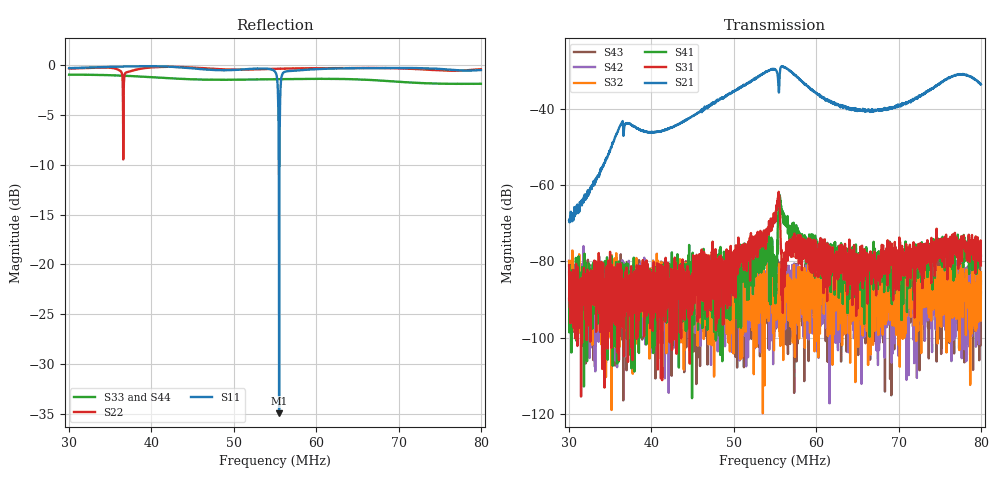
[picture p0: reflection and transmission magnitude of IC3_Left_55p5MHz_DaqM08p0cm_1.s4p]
#  HZ  S  DB  R  50.00
! Rohde & Schwarz Vector Network Analyzer
! Rohde-Schwarz,ZNB8-4Port,1311601044102961,2.82
! Created: UTC 2/13/2019, 9:42:03 AM
! freq[Hz]  db:S11  ang:S11  db:S12  ang:S12  db:S13  ang:S13  db:S14  ang:S14
!  db:S21  ang:S21  db:S22  ang:S22  db:S23  ang:S23  db:S24  ang:S24
!  db:S31  ang:S31  db:S32  ang:S32  db:S33  ang:S33  db:S34  ang:S34
!  db:S41  ang:S41  db:S42  ang:S42  db:S43  ang:S43  db:S44  ang:S44
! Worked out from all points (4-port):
!   2001 points, 30 MHz to 80 MHz, reference 50 ohm
!   strongest paths, dB at 30 MHz, 42.5 MHz, 55 MHz, 67.5 MHz, 80 MHz:
!     S21: -69.2, -44.8, -29.7, -40.2, -33.6
!     S31: -81.0, -103.2, -67.7, -83.1, -81.1
!     S41: -89.8, -90.4, -81.1, -87.4, -78.6
!     S32: -79.9, -84.5, -86.3, -83.6, -82.9
!     S42: -80.2, -95.7, -86.7, -107.2, -88.2
!     S43: -82.8, -92.5, -93.9, -94.6, -85.3
!   lowest |S11| = -35.0 dB at 55.5 MHz (marker M1), VSWR 1.04, Z = 49.9 + j1.78 ohm
!   |S11| at or under -10 dB: 55.45656 MHz to 55.54579 MHz (89.23 kHz wide, 0.161 % of centre)
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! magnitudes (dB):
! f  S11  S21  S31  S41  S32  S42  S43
! 30 MHz  -0.3  -69.2  -81.0  -89.8  -79.9  -80.2  -82.8
! 36.3 MHz  -0.1  -44.0  -88.7  -84.1  -85.6  -96.0  -88.3
! 54.98 MHz  -0.6  -29.7  -68.8  -84.0  -92.0  -98.1  -85.8
! 55.5 MHz  -35.0  -34.9  -62.7  -62.7  -80.7  -89.6  -83.6
! 56.02 MHz  -0.7  -29.0  -86.9  -67.3  -83.5  -91.1  -92.8
! 65.75 MHz  -0.3  -40.2  -85.2  -85.1  -81.2  -89.2  -83.8
! 80 MHz  -0.5  -33.6  -81.1  -78.6  -82.9  -88.2  -85.3
